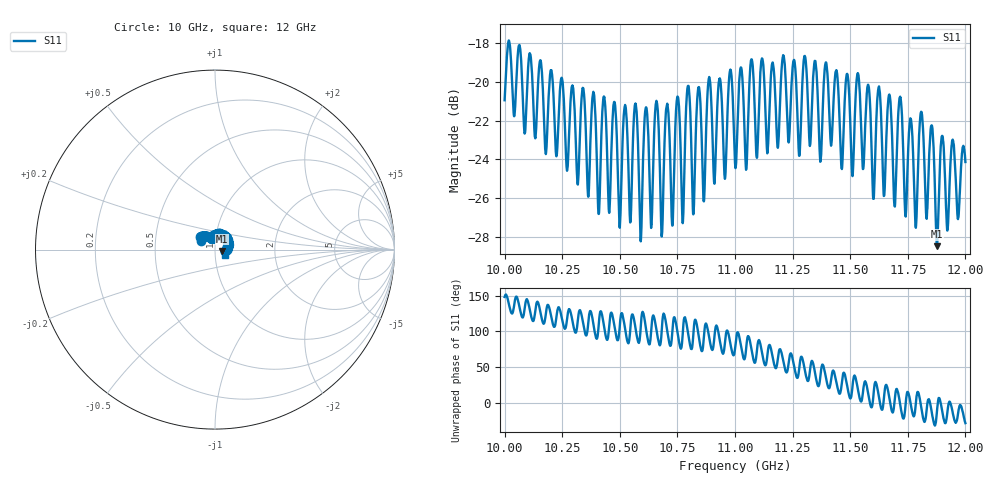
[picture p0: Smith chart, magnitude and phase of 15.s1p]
[Version] 2.0
! Rohde & Schwarz Vector Network Analyzer
! Rohde-Schwarz,ZNL20-2Port,1323001220200009,1.71.1.10-23.02.1.238
! Port Assignments:
! Nominal Port -> Actual Test Port
!  1 -> 1
! Created: GMT 2024-09-04 12:02:26
# Hz S DB R 50
[Number of Ports] 1
! freq[Hz]  S11[mag dB]  S11[ang]
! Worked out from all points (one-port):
!   2001 points, 10 GHz to 12 GHz, reference 50 ohm
!   lowest |S11| = -28.5 dB at 11.88 GHz (marker M1), VSWR 1.08, Z = 53.8 - j0.743 ohm
!   |S11| at or under -10 dB: start of sweep to end of sweep
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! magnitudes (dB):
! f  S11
! 10 GHz  -21.0
! 10.25 GHz  -19.9
! 10.36 GHz  -25.9
! 10.39 GHz  -20.6
! 10.41 GHz  -26.8
! 10.48 GHz  -21.1
! 10.5 GHz  -27.5
! 10.57 GHz  -21.2
! 10.59 GHz  -27.9
! 10.61 GHz  -21.3
! 10.64 GHz  -27.3
! 10.66 GHz  -21.0
! 10.68 GHz  -27.9
! 10.73 GHz  -27.4
! 10.75 GHz  -20.8
! 10.77 GHz  -27.3
! 10.8 GHz  -20.2
! 10.82 GHz  -26.8
! 10.84 GHz  -20.3
! 10.86 GHz  -26.1
! 10.89 GHz  -19.8
! 11 GHz  -24.2
! 11.25 GHz  -19.3
! 11.5 GHz  -22.0
! 11.75 GHz  -24.1
! 11.85 GHz  -22.3
! 11.88 GHz  -28.5
! 12 GHz  -24.1
